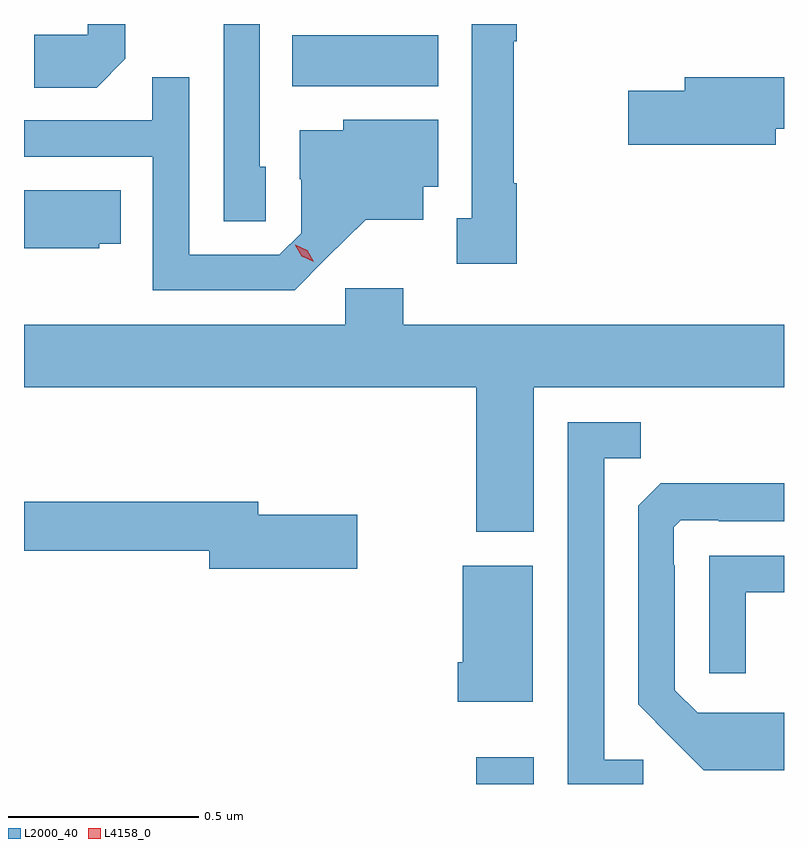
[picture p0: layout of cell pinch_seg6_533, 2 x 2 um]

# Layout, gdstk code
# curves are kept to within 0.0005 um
import gdstk
lib = gdstk.Library(unit=1e-6, precision=1e-09)
def R(c, l, rs):  # rectangles x0, y0, x1, y1
    for r in rs: c.add(gdstk.rectangle(r[:2], r[2:], *l))
def P(c, l, *ps):  # polygons
    for p in ps: c.add(gdstk.Polygon(p, *l))
L2000_40 = (2000, 40)
L4158_0 = (4158, 0)

pinch_seg6_533 = lib.new_cell('pinch_seg6_533')
R(pinch_seg6_533, L2000_40, [(773.66,947.624,773.812,947.695), (773.176,949.46,773.56,949.594)])
P(pinch_seg6_533, L2000_40, [(773.106,949.248),(773.091,949.248),(773.091,949.624),(772.995,949.624),(772.995,949.105),(773.106,949.105)],
  [(773.767,949.205),(773.759,949.205),(773.759,949.579),(773.767,949.579),(773.767,949.624),(773.648,949.624),(773.648,949.113),(773.609,949.113),(773.609,948.993),(773.767,948.993)],
  [(772.737,949.532),(772.737,949.624),(772.638,949.624),(772.638,949.596),(772.497,949.596),(772.497,949.456),(772.661,949.456)],
  [(774.448,949.348),(774.47,949.348),(774.47,949.484),(774.209,949.484),(774.209,949.448),(774.06,949.448),(774.06,949.306),(774.448,949.306)],
  [(773.266,949.007),(773.369,949.109),(773.521,949.109),(773.521,949.196),(773.56,949.196),(773.56,949.372),(773.31,949.372),(773.31,949.345),(773.195,949.345),(773.195,949.216),(773.199,949.216),(773.199,949.074),(773.142,949.017),(772.905,949.017),(772.905,949.484),(772.807,949.484),(772.807,949.371),(772.47,949.371),(772.47,949.275),(772.809,949.275),(772.809,948.924),(773.182,948.924)],
  [(772.668,949.046),(772.724,949.046),(772.724,949.186),(772.47,949.186),(772.47,949.034),(772.668,949.034)],
  [(773.812,948.668),(774.47,948.668),(774.47,948.832),(773.468,948.832),(773.468,948.928),(773.316,948.928),(773.316,948.832),(772.47,948.832),(772.47,948.668),(773.66,948.668),(773.66,948.288),(773.812,948.288)],
  [(774.1,947.688),(773.997,947.688),(773.997,948.481),(774.093,948.481),(774.093,948.576),(773.901,948.576),(773.901,947.624),(774.1,947.624)],
  [(774.47,947.812),(774.366,947.812),(774.366,947.811),(774.243,947.811),(774.183,947.871),(774.183,948.2),(774.18,948.2),(774.18,948.3),(774.198,948.318),(774.298,948.318),(774.298,948.315),(774.47,948.315),(774.47,948.416),(774.247,948.416),(774.247,948.415),(774.146,948.415),(774.087,948.356),(774.087,947.834),(774.259,947.66),(774.47,947.66)],
  [(773.347,948.333),(773.086,948.333),(773.086,948.367),(772.47,948.367),(772.47,948.238),(772.958,948.238),(772.958,948.191),(773.347,948.191)],
  [(774.369,948.129),(774.47,948.129),(774.47,948.225),(774.273,948.225),(774.273,947.916),(774.369,947.916)],
  [(773.809,948.199),(773.624,948.199),(773.624,947.944),(773.612,947.944),(773.612,947.84),(773.809,947.84)])
P(pinch_seg6_533, L4158_0, [(773.232,948.998),(773.201,949.013),(773.184,949.042),(773.184,949.043),(773.184,949.043),(773.215,949.028),(773.233,948.998),(773.233,948.998)])

lib.write_gds('pinch_seg6_533.gds')
